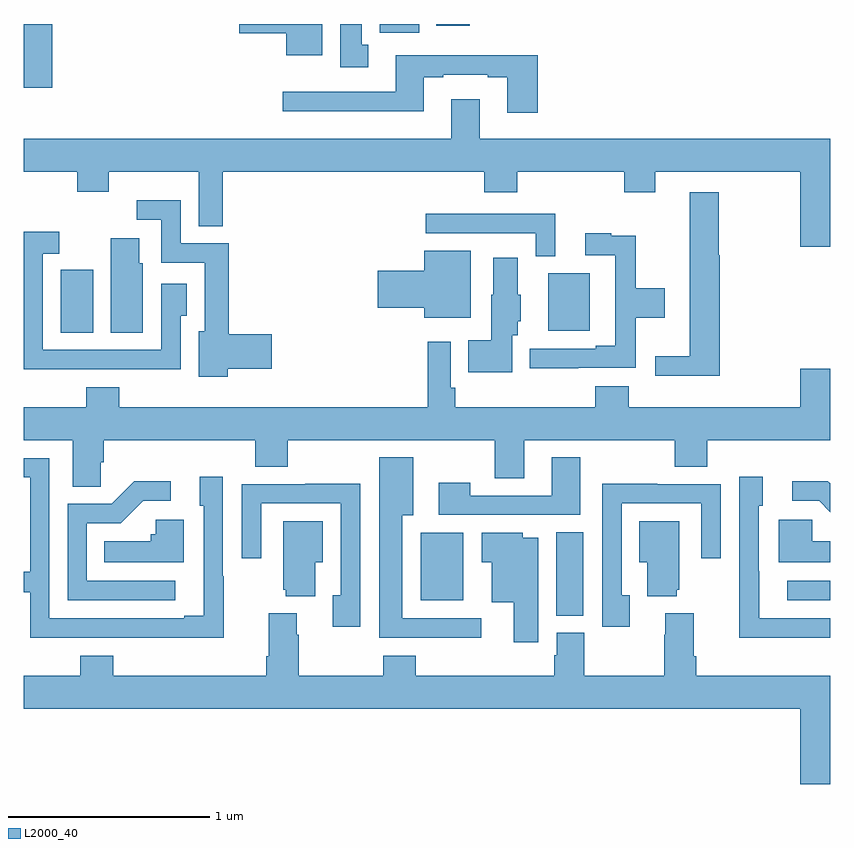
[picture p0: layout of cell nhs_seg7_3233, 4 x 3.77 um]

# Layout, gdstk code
import gdstk
lib = gdstk.Library(unit=1e-6, precision=1e-09)
def R(c, l, rs):  # rectangles x0, y0, x1, y1
    for r in rs: c.add(gdstk.rectangle(r[:2], r[2:], *l))
def P(c, l, *ps):  # polygons
    for p in ps: c.add(gdstk.Polygon(p, *l))
L2000_40 = (2000, 40)

nhs_seg7_3233 = lib.new_cell('nhs_seg7_3233')
R(nhs_seg7_3233, L2000_40, [(319.64,1013.065,319.774,1013.48), (318.968,1013.141,319.18,1013.476), (320.787,1013.142,321,1013.238), (317.183,1014.469,317.344,1014.78), (319.601,1014.479,319.807,1014.763), (317,1015.683,317.141,1016), (318.765,1015.956,318.961,1016), (319.046,1015.992,319.213,1016)])
P(nhs_seg7_3233, L2000_40, [(318.709,1015.897),(318.676,1015.897),(318.676,1016),(318.569,1016),(318.569,1015.785),(318.709,1015.785)],
  [(318.481,1016),(318.068,1016),(318.068,1015.955),(318.302,1015.955),(318.302,1015.844),(318.481,1015.844)],
  [(319.55,1015.846),(318.845,1015.846),(318.845,1015.665),(318.285,1015.665),(318.285,1015.568),(318.985,1015.568),(318.985,1015.737),(319.081,1015.737),(319.081,1015.749),(319.301,1015.749),(319.301,1015.737),(319.397,1015.737),(319.397,1015.56),(319.55,1015.56)],
  [(321,1015.432),(319.261,1015.432),(319.261,1015.627),(319.121,1015.627),(319.121,1015.432),(317,1015.432),(317,1015.268),(317.266,1015.268),(317.266,1015.169),(317.421,1015.169),(317.421,1015.268),(317.867,1015.268),(317.867,1014.997),(317.986,1014.997),(317.986,1015.268),(319.283,1015.268),(319.283,1015.166),(319.448,1015.166),(319.448,1015.268),(319.979,1015.268),(319.979,1015.166),(320.131,1015.166),(320.131,1015.268),(320.852,1015.268),(320.852,1014.894),(321,1014.894)],
  [(320.453,1014.852),(320.448,1014.852),(320.448,1015.165),(320.303,1015.165),(320.303,1014.353),(320.133,1014.353),(320.133,1014.254),(320.453,1014.254)],
  [(318.011,1014.29),(318.229,1014.29),(318.229,1014.461),(318.016,1014.461),(318.016,1014.912),(317.778,1014.912),(317.778,1015.126),(317.559,1015.126),(317.559,1015.029),(317.682,1015.029),(317.682,1014.816),(317.897,1014.816),(317.897,1014.475),(317.867,1014.475),(317.867,1014.251),(318.011,1014.251)],
  [(319.636,1015.059),(318.993,1015.059),(318.993,1014.963),(319.539,1014.963),(319.539,1014.848),(319.636,1014.848)],
  [(317.191,1014.288),(317.557,1014.288),(317.557,1014.287),(317.778,1014.287),(317.778,1014.553),(317.809,1014.553),(317.809,1014.712),(317.682,1014.712),(317.682,1014.384),(317.094,1014.384),(317.094,1014.861),(317.176,1014.861),(317.176,1014.97),(317,1014.97),(317,1014.287),(317.191,1014.287)],
  [(319.751,1014.294),(320.036,1014.294),(320.036,1014.542),(320.179,1014.542),(320.179,1014.69),(320.036,1014.69),(320.036,1014.95),(319.913,1014.95),(319.913,1014.961),(319.785,1014.961),(319.785,1014.852),(319.935,1014.852),(319.935,1014.403),(319.838,1014.403),(319.838,1014.39),(319.509,1014.39),(319.509,1014.293),(319.751,1014.293)],
  [(317.59,1014.813),(317.572,1014.813),(317.572,1014.937),(317.432,1014.937),(317.432,1014.469),(317.59,1014.469)],
  [(319.216,1014.874),(318.986,1014.874),(318.986,1014.776),(318.756,1014.776),(318.756,1014.593),(318.986,1014.593),(318.986,1014.542),(319.216,1014.542)],
  [(319.423,1014.456),(319.45,1014.456),(319.45,1014.525),(319.465,1014.525),(319.465,1014.657),(319.45,1014.657),(319.45,1014.841),(319.328,1014.841),(319.328,1014.657),(319.319,1014.657),(319.319,1014.43),(319.204,1014.43),(319.204,1014.272),(319.423,1014.272)],
  [(317.382,1013.827),(317.396,1013.827),(317.396,1013.936),(318.149,1013.936),(318.149,1013.803),(318.309,1013.803),(318.309,1013.936),(319.336,1013.936),(319.336,1013.746),(319.483,1013.746),(319.483,1013.936),(320.23,1013.936),(320.23,1013.803),(320.39,1013.803),(320.39,1013.936),(321,1013.936),(321,1014.289),(320.852,1014.289),(320.852,1014.1),(320,1014.1),(320,1014.202),(319.835,1014.202),(319.835,1014.1),(319.139,1014.1),(319.139,1014.196),(319.119,1014.196),(319.119,1014.424),(319.003,1014.424),(319.003,1014.1),(317.474,1014.1),(317.474,1014.199),(317.309,1014.199),(317.309,1014.1),(317,1014.1),(317,1013.936),(317.243,1013.936),(317.243,1013.704),(317.382,1013.704)],
  [(319.759,1013.851),(319.619,1013.851),(319.619,1013.661),(319.215,1013.661),(319.215,1013.725),(319.059,1013.725),(319.059,1013.565),(319.759,1013.565)],
  [(319.27,1013.052),(318.877,1013.052),(318.877,1013.564),(318.931,1013.564),(318.931,1013.851),(318.764,1013.851),(318.764,1012.955),(319.27,1012.955)],
  [(317.991,1013.261),(317.988,1013.261),(317.988,1013.755),(317.873,1013.755),(317.873,1013.61),(317.892,1013.61),(317.892,1013.065),(317.795,1013.065),(317.795,1013.052),(317.127,1013.052),(317.127,1013.847),(317,1013.847),(317,1013.751),(317.031,1013.751),(317.031,1013.282),(317,1013.282),(317,1013.181),(317.031,1013.181),(317.031,1012.956),(317.527,1012.956),(317.527,1012.955),(317.991,1012.955)],
  [(321,1013.052),(320.647,1013.052),(320.647,1013.285),(320.646,1013.285),(320.646,1013.61),(320.665,1013.61),(320.665,1013.755),(320.55,1013.755),(320.55,1013.261),(320.548,1013.261),(320.548,1012.955),(321,1012.955)],
  [(317.752,1013.238),(317.313,1013.238),(317.313,1013.523),(317.482,1013.523),(317.593,1013.634),(317.728,1013.634),(317.728,1013.732),(317.549,1013.732),(317.436,1013.619),(317.217,1013.619),(317.217,1013.142),(317.752,1013.142)],
  [(321,1013.721),(320.989,1013.732),(320.811,1013.732),(320.811,1013.634),(320.945,1013.634),(321,1013.579)],
  [(320.005,1013.166),(319.965,1013.166),(319.965,1013.622),(320.361,1013.622),(320.361,1013.349),(320.457,1013.349),(320.457,1013.718),(320.141,1013.718),(320.141,1013.72),(319.869,1013.72),(319.869,1013.01),(320.005,1013.01)],
  [(318.669,1013.72),(318.397,1013.72),(318.397,1013.718),(318.081,1013.718),(318.081,1013.349),(318.177,1013.349),(318.177,1013.622),(318.573,1013.622),(318.573,1013.166),(318.533,1013.166),(318.533,1013.01),(318.669,1013.01)],
  [(317.794,1013.542),(317.655,1013.542),(317.655,1013.469),(317.629,1013.469),(317.629,1013.434),(317.398,1013.434),(317.398,1013.33),(317.794,1013.33)],
  [(321,1013.434),(320.91,1013.434),(320.91,1013.542),(320.744,1013.542),(320.744,1013.33),(321,1013.33)],
  [(320.24,1013.193),(320.251,1013.193),(320.251,1013.533),(320.054,1013.533),(320.054,1013.33),(320.093,1013.33),(320.093,1013.162),(320.24,1013.162)],
  [(318.445,1013.33),(318.484,1013.33),(318.484,1013.533),(318.287,1013.533),(318.287,1013.193),(318.299,1013.193),(318.299,1013.162),(318.445,1013.162)],
  [(319.552,1013.452),(319.476,1013.452),(319.476,1013.476),(319.271,1013.476),(319.271,1013.33),(319.322,1013.33),(319.322,1013.132),(319.43,1013.132),(319.43,1012.932),(319.552,1012.932)],
  [(321,1012.768),(320.336,1012.768),(320.336,1012.864),(320.323,1012.864),(320.323,1013.077),(320.183,1013.077),(320.183,1012.97),(320.176,1012.97),(320.176,1012.768),(319.779,1012.768),(319.779,1012.98),(319.643,1012.98),(319.643,1012.869),(319.631,1012.869),(319.631,1012.768),(318.944,1012.768),(318.944,1012.867),(318.784,1012.867),(318.784,1012.768),(318.363,1012.768),(318.363,1012.97),(318.355,1012.97),(318.355,1013.077),(318.215,1013.077),(318.215,1012.864),(318.203,1012.864),(318.203,1012.768),(317.444,1012.768),(317.444,1012.867),(317.279,1012.867),(317.279,1012.768),(317,1012.768),(317,1012.604),(320.852,1012.604),(320.852,1012.23),(321,1012.23)])

lib.write_gds('nhs_seg7_3233.gds')
